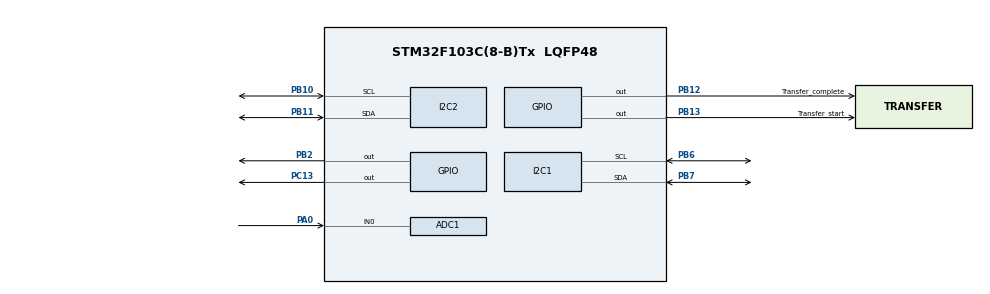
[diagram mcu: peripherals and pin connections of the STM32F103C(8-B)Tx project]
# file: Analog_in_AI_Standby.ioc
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ADC1.Channel-0\#ChannelRegularConversion=ADC_CHANNEL_0
ADC1.NbrOfConversionFlag=1
ADC1.Rank-0\#ChannelRegularConversion=1
ADC1.SamplingTime-0\#ChannelRegularConversion=ADC_SAMPLETIME_1CYCLE_5
ADC1.master=1
I2C1.OwnAddress=0x13
I2C2.OwnAddress=0x13
Mcu.Family=STM32F1
Mcu.Name=STM32F103C(8-B)Tx
Mcu.Package=LQFP48
NVIC.I2C1_ER_IRQn=true\:0\:0\:false\:false\:true\:true\:true\:true
NVIC.I2C1_EV_IRQn=true\:0\:0\:false\:false\:true\:true\:true\:true
NVIC.PriorityGroup=NVIC_PRIORITYGROUP_4
PA0-WKUP.Signal=ADCx_IN0
PA13.Mode=Serial_Wire
PA13.Signal=SYS_JTMS-SWDIO
PA14.Mode=Serial_Wire
PA14.Signal=SYS_JTCK-SWCLK
PB10.Mode=I2C
PB10.Signal=I2C2_SCL
PB11.Mode=I2C
PB11.Signal=I2C2_SDA
PB12.GPIO_Label=Transfer_complete
PB12.Signal=GPIO_Output
PB13.GPIO_Label=Transfer_start
PB13.GPIO_PuPd=GPIO_PULLDOWN
PB13.Signal=GPIO_Output
PB2.Signal=GPIO_Output
PB6.Mode=I2C
PB6.Signal=I2C1_SCL
PB7.Mode=I2C
PB7.Signal=I2C1_SDA
PC13-TAMPER-RTC.Signal=GPIO_Output
ProjectManager.HeapSize=0x200
ProjectManager.StackSize=0x400
ProjectManager.TargetToolchain=STM32CubeIDE
RCC.APB1Freq_Value=8000000
RCC.APB2Freq_Value=8000000
SH.ADCx_IN0.0=ADC1_IN0,IN0
board=custom

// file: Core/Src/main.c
/* USER CODE BEGIN Header */
/**
  ******************************************************************************
  * @file           : main.c
  * @brief          : Main program body
  ******************************************************************************
  * @attention
  *
  * Copyright (c) 2025 STMicroelectronics.
  * All rights reserved.
  *
  * This software is licensed under terms that can be found in the LICENSE file
  * in the root directory of this software component.
  * If no LICENSE file comes with this software, it is provided AS-IS.
  *
  ******************************************************************************
  */
/* USER CODE END Header */
#include "main.h"

ADC_HandleTypeDef hadc1;

I2C_HandleTypeDef hi2c1;
I2C_HandleTypeDef hi2c2;

/* USER CODE BEGIN PV */
uint16_t pot; // For storing ADC output of the potentiometer input.

/* The 16-bit ADC output is split into two 8-bit data(MSB and LSB) to make it suitable for transmission
 * via I2C since it only transmits 8 bits at a time. The data has to be combined back at the receiver to
 * get back the original data.
 * */
uint8_t dataBuffer[2]; // Stores the MSB and LSB of pot.

/* USER CODE END PV */

void SystemClock_Config(void);
static void MX_GPIO_Init(void);
static void MX_ADC1_Init(void);
static void MX_I2C1_Init(void);
static void MX_I2C2_Init(void);

int main(void)
{

  /* MCU Configuration--------------------------------------------------------*/

  /* Reset of all peripherals, Initializes the Flash interface and the Systick. */
  HAL_Init();

  /* Configure the system clock */
  SystemClock_Config();

  /* Initialize all configured peripherals */
  MX_GPIO_Init();
  MX_ADC1_Init();
  MX_I2C1_Init();
  MX_I2C2_Init();
  /* USER CODE BEGIN 2 */
  HAL_I2C_Slave_Transmit_IT(&hi2c1, dataBuffer, 2);
  HAL_I2C_Slave_Transmit_IT(&hi2c2, dataBuffer, 2);
  /* USER CODE END 2 */

  /* Infinite loop */
  /* USER CODE BEGIN WHILE */
  while (1)
  {
	  HAL_ADC_Start(&hadc1); // for starting the ADC
	  HAL_ADC_PollForConversion(&hadc1, 20);
	  pot = HAL_ADC_GetValue(&hadc1); // Getting the value from ADC

	  dataBuffer[0] = pot >> 8;
	  dataBuffer[1] = pot & 0xFF;

    /* USER CODE END WHILE */

  }
}

void SystemClock_Config(void)
{
  RCC_OscInitTypeDef RCC_OscInitStruct = {0};
  RCC_ClkInitTypeDef RCC_ClkInitStruct = {0};
  RCC_PeriphCLKInitTypeDef PeriphClkInit = {0};

  /** Initializes the RCC Oscillators according to the specified parameters
  * in the RCC_OscInitTypeDef structure.
  */
  RCC_OscInitStruct.OscillatorType = RCC_OSCILLATORTYPE_HSI;
  RCC_OscInitStruct.HSIState = RCC_HSI_ON;
  RCC_OscInitStruct.HSICalibrationValue = RCC_HSICALIBRATION_DEFAULT;
  RCC_OscInitStruct.PLL.PLLState = RCC_PLL_NONE;
  if (HAL_RCC_OscConfig(&RCC_OscInitStruct) != HAL_OK)
  {
    Error_Handler();
  }

  /** Initializes the CPU, AHB and APB buses clocks
  */
  RCC_ClkInitStruct.ClockType = RCC_CLOCKTYPE_HCLK|RCC_CLOCKTYPE_SYSCLK
                              |RCC_CLOCKTYPE_PCLK1|RCC_CLOCKTYPE_PCLK2;
  RCC_ClkInitStruct.SYSCLKSource = RCC_SYSCLKSOURCE_HSI;
  RCC_ClkInitStruct.AHBCLKDivider = RCC_SYSCLK_DIV1;
  RCC_ClkInitStruct.APB1CLKDivider = RCC_HCLK_DIV1;
  RCC_ClkInitStruct.APB2CLKDivider = RCC_HCLK_DIV1;

  if (HAL_RCC_ClockConfig(&RCC_ClkInitStruct, FLASH_LATENCY_0) != HAL_OK)
  {
    Error_Handler();
  }
  PeriphClkInit.PeriphClockSelection = RCC_PERIPHCLK_ADC;
  PeriphClkInit.AdcClockSelection = RCC_ADCPCLK2_DIV2;
  if (HAL_RCCEx_PeriphCLKConfig(&PeriphClkInit) != HAL_OK)
  {
    Error_Handler();
  }
}

static void MX_ADC1_Init(void)
{

  ADC_ChannelConfTypeDef sConfig = {0};

  /** Common config
  */
  hadc1.Instance = ADC1;
  hadc1.Init.ScanConvMode = ADC_SCAN_DISABLE;
  hadc1.Init.ContinuousConvMode = DISABLE;
  hadc1.Init.DiscontinuousConvMode = DISABLE;
  hadc1.Init.ExternalTrigConv = ADC_SOFTWARE_START;
  hadc1.Init.DataAlign = ADC_DATAALIGN_RIGHT;
  hadc1.Init.NbrOfConversion = 1;
  if (HAL_ADC_Init(&hadc1) != HAL_OK)
  {
    Error_Handler();
  }

  /** Configure Regular Channel
  */
  sConfig.Channel = ADC_CHANNEL_0;
  sConfig.Rank = ADC_REGULAR_RANK_1;
  sConfig.SamplingTime = ADC_SAMPLETIME_1CYCLE_5;
  if (HAL_ADC_ConfigChannel(&hadc1, &sConfig) != HAL_OK)
  {
    Error_Handler();
  }

}

static void MX_I2C1_Init(void)
{

  hi2c1.Instance = I2C1;
  hi2c1.Init.ClockSpeed = 100000;
  hi2c1.Init.DutyCycle = I2C_DUTYCYCLE_2;
  hi2c1.Init.OwnAddress1 = 38;
  hi2c1.Init.AddressingMode = I2C_ADDRESSINGMODE_7BIT;
  hi2c1.Init.DualAddressMode = I2C_DUALADDRESS_DISABLE;
  hi2c1.Init.OwnAddress2 = 0;
  hi2c1.Init.GeneralCallMode = I2C_GENERALCALL_DISABLE;
  hi2c1.Init.NoStretchMode = I2C_NOSTRETCH_DISABLE;
  if (HAL_I2C_Init(&hi2c1) != HAL_OK)
  {
    Error_Handler();
  }

}

static void MX_I2C2_Init(void)
{

  hi2c2.Instance = I2C2;
  hi2c2.Init.ClockSpeed = 100000;
  hi2c2.Init.DutyCycle = I2C_DUTYCYCLE_2;
  hi2c2.Init.OwnAddress1 = 38;
  hi2c2.Init.AddressingMode = I2C_ADDRESSINGMODE_7BIT;
  hi2c2.Init.DualAddressMode = I2C_DUALADDRESS_DISABLE;
  hi2c2.Init.OwnAddress2 = 0;
  hi2c2.Init.GeneralCallMode = I2C_GENERALCALL_DISABLE;
  hi2c2.Init.NoStretchMode = I2C_NOSTRETCH_DISABLE;
  if (HAL_I2C_Init(&hi2c2) != HAL_OK)
  {
    Error_Handler();
  }

}

static void MX_GPIO_Init(void)
{
  GPIO_InitTypeDef GPIO_InitStruct = {0};

  /* GPIO Ports Clock Enable */
  __HAL_RCC_GPIOC_CLK_ENABLE();
  __HAL_RCC_GPIOA_CLK_ENABLE();
  __HAL_RCC_GPIOB_CLK_ENABLE();

  /*Configure GPIO pin Output Level */
  HAL_GPIO_WritePin(GPIOC, GPIO_PIN_13, GPIO_PIN_RESET);

  /*Configure GPIO pin Output Level */
  HAL_GPIO_WritePin(GPIOB, GPIO_PIN_2|Transfer_complete_Pin|Transfer_start_Pin, GPIO_PIN_RESET);

  /*Configure GPIO pin : PC13 */
  GPIO_InitStruct.Pin = GPIO_PIN_13;
  GPIO_InitStruct.Mode = GPIO_MODE_OUTPUT_PP;
  GPIO_InitStruct.Pull = GPIO_NOPULL;
  GPIO_InitStruct.Speed = GPIO_SPEED_FREQ_LOW;
  HAL_GPIO_Init(GPIOC, &GPIO_InitStruct);

  /*Configure GPIO pins : PB2 Transfer_complete_Pin */
  GPIO_InitStruct.Pin = GPIO_PIN_2|Transfer_complete_Pin;
  GPIO_InitStruct.Mode = GPIO_MODE_OUTPUT_PP;
  GPIO_InitStruct.Pull = GPIO_NOPULL;
  GPIO_InitStruct.Speed = GPIO_SPEED_FREQ_LOW;
  HAL_GPIO_Init(GPIOB, &GPIO_InitStruct);

  /*Configure GPIO pin : Transfer_start_Pin */
  GPIO_InitStruct.Pin = Transfer_start_Pin;
  GPIO_InitStruct.Mode = GPIO_MODE_OUTPUT_PP;
  GPIO_InitStruct.Pull = GPIO_PULLDOWN;
  GPIO_InitStruct.Speed = GPIO_SPEED_FREQ_LOW;
  HAL_GPIO_Init(Transfer_start_GPIO_Port, &GPIO_InitStruct);

}

/* USER CODE BEGIN 4 */
void HAL_I2C_SlaveTxCpltCallback(I2C_HandleTypeDef *hi2c){
	if (hi2c->Instance == I2C1)
	{
		HAL_I2C_Slave_Transmit_IT(&hi2c1, dataBuffer, 2);
	    //HAL_GPIO_TogglePin(GPIOB, GPIO_PIN_2);
		HAL_GPIO_TogglePin(GPIOC, GPIO_PIN_13);
	}
	else if (hi2c->Instance == I2C2)
	{
		HAL_I2C_Slave_Transmit_IT(&hi2c2, dataBuffer, 2);
	    //HAL_GPIO_TogglePin(GPIOB, GPIO_PIN_2);
		HAL_GPIO_TogglePin(GPIOC, GPIO_PIN_13);
	}
}

void HAL_I2C_ErrorCallback(I2C_HandleTypeDef *hi2c)
{
    if (hi2c->Instance == I2C1)
    {
    	HAL_I2C_Slave_Transmit_IT(&hi2c1, dataBuffer, 2);
    }
    else if (hi2c->Instance == I2C2)
    {
    	HAL_I2C_Slave_Transmit_IT(&hi2c2, dataBuffer, 2);
    }
}
/* USER CODE END 4 */

void Error_Handler(void)
{
  __disable_irq();
  while (1)
  {
  }
}
